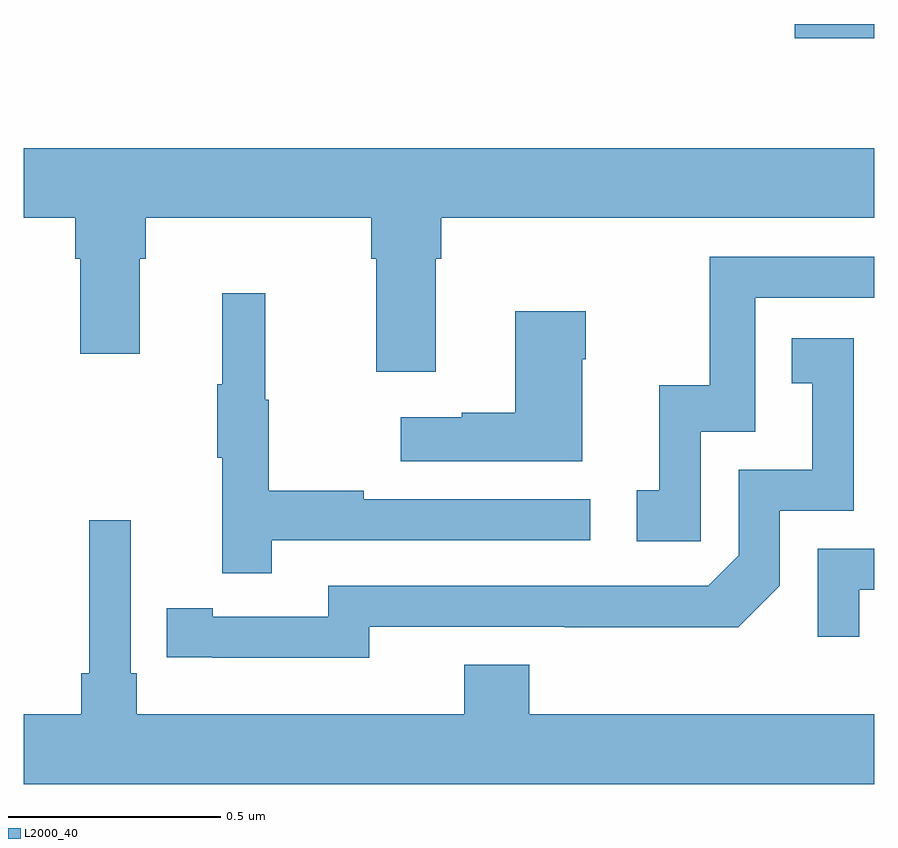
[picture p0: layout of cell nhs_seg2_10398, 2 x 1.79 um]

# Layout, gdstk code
import gdstk
lib = gdstk.Library(unit=1e-6, precision=1e-09)
def R(c, l, rs):  # rectangles x0, y0, x1, y1
    for r in rs: c.add(gdstk.rectangle(r[:2], r[2:], *l))
def P(c, l, *ps):  # polygons
    for p in ps: c.add(gdstk.Polygon(p, *l))
L2000_40 = (2000, 40)

nhs_seg2_10398 = lib.new_cell('nhs_seg2_10398')
R(nhs_seg2_10398, L2000_40, [(242.814,606.767,243,606.8)])
P(nhs_seg2_10398, L2000_40, [(241.969,606.248),(241.982,606.248),(241.982,606.344),(243,606.344),(243,606.508),(241,606.508),(241,606.344),(241.121,606.344),(241.121,606.248),(241.133,606.248),(241.133,606.024),(241.273,606.024),(241.273,606.248),(241.286,606.248),(241.286,606.344),(241.817,606.344),(241.817,606.248),(241.829,606.248),(241.829,605.982),(241.969,605.982)],
  [(242.592,605.841),(242.721,605.841),(242.721,606.156),(243,606.156),(243,606.252),(242.613,606.252),(242.613,605.95),(242.495,605.95),(242.495,605.703),(242.442,605.703),(242.442,605.583),(242.592,605.583)],
  [(241.583,605.586),(242.332,605.586),(242.332,605.682),(241.799,605.682),(241.799,605.702),(241.576,605.702),(241.576,605.916),(241.568,605.916),(241.568,606.166),(241.466,606.166),(241.466,605.953),(241.455,605.953),(241.455,605.779),(241.466,605.779),(241.466,605.508),(241.583,605.508)],
  [(242.314,606.011),(242.322,606.011),(242.322,606.124),(242.156,606.124),(242.156,605.885),(242.03,605.885),(242.03,605.875),(241.887,605.875),(241.887,605.771),(242.314,605.771)],
  [(241.812,605.382),(242.272,605.382),(242.272,605.381),(242.68,605.381),(242.778,605.478),(242.778,605.655),(242.952,605.655),(242.952,606.061),(242.806,606.061),(242.806,605.955),(242.855,605.955),(242.855,605.751),(242.682,605.751),(242.682,605.55),(242.61,605.478),(241.716,605.478),(241.716,605.406),(241.444,605.406),(241.444,605.426),(241.336,605.426),(241.336,605.31),(241.444,605.31),(241.444,605.309),(241.812,605.309)],
  [(243,605.176),(242.189,605.176),(242.189,605.293),(242.036,605.293),(242.036,605.176),(241.265,605.176),(241.265,605.272),(241.251,605.272),(241.251,605.632),(241.154,605.632),(241.154,605.272),(241.135,605.272),(241.135,605.176),(241,605.176),(241,605.012),(243,605.012)],
  [(242.965,605.469),(243,605.469),(243,605.565),(242.868,605.565),(242.868,605.358),(242.965,605.358)])

lib.write_gds('nhs_seg2_10398.gds')
